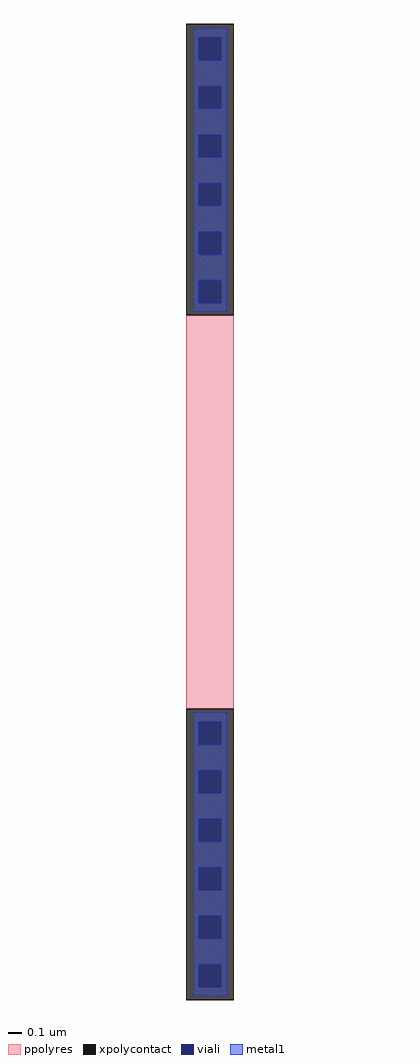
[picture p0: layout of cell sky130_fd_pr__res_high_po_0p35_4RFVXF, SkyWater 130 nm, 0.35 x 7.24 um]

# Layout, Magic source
magic
tech sky130A
magscale 1 2
<< xpolycontact >>
rect -35 292 35 724
rect -35 -724 35 -292
<< ppolyres >>
rect -35 -292 35 292
<< viali >>
rect -17 670 17 704
rect -17 598 17 632
rect -17 526 17 560
rect -17 454 17 488
rect -17 382 17 416
rect -17 310 17 344
rect -17 -345 17 -311
rect -17 -417 17 -383
rect -17 -489 17 -455
rect -17 -561 17 -527
rect -17 -633 17 -599
rect -17 -705 17 -671
<< metal1 >>
rect -25 704 25 718
rect -25 670 -17 704
rect 17 670 25 704
rect -25 632 25 670
rect -25 598 -17 632
rect 17 598 25 632
rect -25 560 25 598
rect -25 526 -17 560
rect 17 526 25 560
rect -25 488 25 526
rect -25 454 -17 488
rect 17 454 25 488
rect -25 416 25 454
rect -25 382 -17 416
rect 17 382 25 416
rect -25 344 25 382
rect -25 310 -17 344
rect 17 310 25 344
rect -25 297 25 310
rect -25 -311 25 -297
rect -25 -345 -17 -311
rect 17 -345 25 -311
rect -25 -383 25 -345
rect -25 -417 -17 -383
rect 17 -417 25 -383
rect -25 -455 25 -417
rect -25 -489 -17 -455
rect 17 -489 25 -455
rect -25 -527 25 -489
rect -25 -561 -17 -527
rect 17 -561 25 -527
rect -25 -599 25 -561
rect -25 -633 -17 -599
rect 17 -633 25 -599
rect -25 -671 25 -633
rect -25 -705 -17 -671
rect 17 -705 25 -671
rect -25 -718 25 -705
<< end >>
